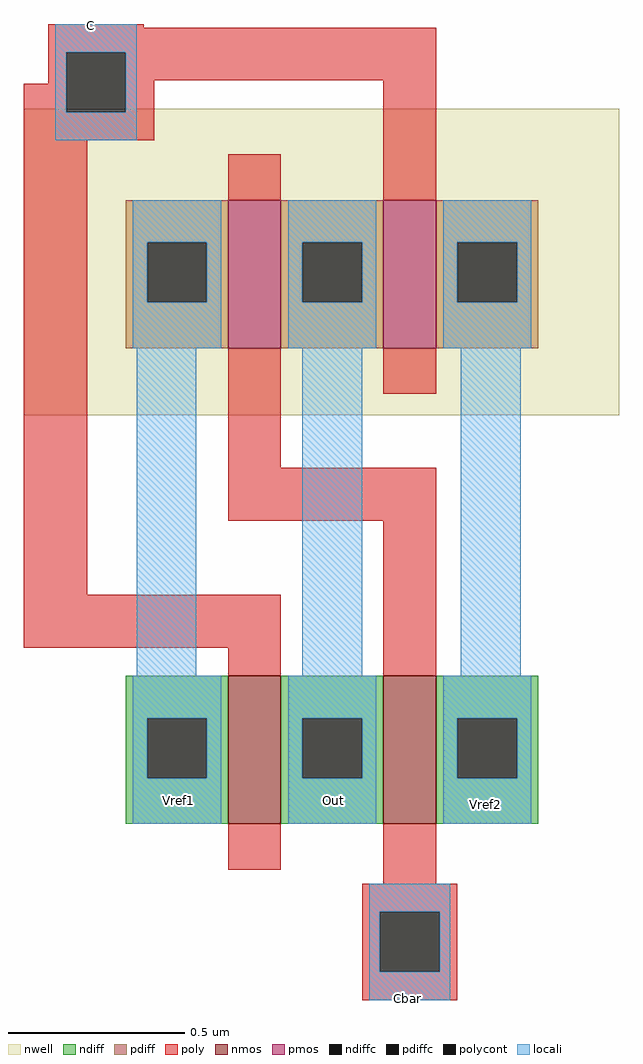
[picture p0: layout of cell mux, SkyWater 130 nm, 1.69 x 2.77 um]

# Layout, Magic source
magic
tech sky130A
<< nwell >>
rect -59 95 110 182
<< nmos >>
rect -1 -21 14 21
rect 43 -21 58 21
<< pmos >>
rect -1 114 14 156
rect 43 114 58 156
<< ndiff >>
rect -30 9 -1 21
rect -30 -8 -24 9
rect -7 -8 -1 9
rect -30 -21 -1 -8
rect 14 9 43 21
rect 14 -8 20 9
rect 37 -8 43 9
rect 14 -21 43 -8
rect 58 9 87 21
rect 58 -8 64 9
rect 81 -8 87 9
rect 58 -21 87 -8
<< pdiff >>
rect -30 144 -1 156
rect -30 127 -24 144
rect -7 127 -1 144
rect -30 114 -1 127
rect 14 144 43 156
rect 14 127 20 144
rect 37 127 43 144
rect 14 114 43 127
rect 58 144 87 156
rect 58 127 64 144
rect 81 127 87 144
rect 58 114 87 127
<< ndiffc >>
rect -24 -8 -7 9
rect 20 -8 37 9
rect 64 -8 81 9
<< pdiffc >>
rect -24 127 -7 144
rect 20 127 37 144
rect 64 127 81 144
<< poly >>
rect -52 205 -25 206
rect -52 198 58 205
rect -52 189 -47 198
rect -59 181 -47 189
rect -30 190 58 198
rect -30 181 -22 190
rect -59 173 -22 181
rect -59 44 -41 173
rect -1 156 14 169
rect 43 156 58 190
rect -1 80 14 114
rect 43 101 58 114
rect -1 65 58 80
rect -59 29 14 44
rect -1 21 14 29
rect 43 21 58 65
rect -1 -34 14 -21
rect 43 -38 58 -21
rect 37 -46 64 -38
rect 37 -63 42 -46
rect 59 -63 64 -46
rect 37 -71 64 -63
<< polycont >>
rect -47 181 -30 198
rect 42 -63 59 -46
<< locali >>
rect -50 198 -27 206
rect -50 181 -47 198
rect -30 181 -27 198
rect -50 173 -27 181
rect -28 144 -3 156
rect -28 127 -24 144
rect -7 127 -3 144
rect -28 114 -3 127
rect 16 144 41 156
rect 16 127 20 144
rect 37 127 41 144
rect 16 114 41 127
rect 60 144 85 156
rect 60 127 64 144
rect 81 127 85 144
rect 60 114 85 127
rect -27 21 -10 114
rect 20 21 37 114
rect 65 21 82 114
rect -28 9 -3 21
rect -28 -8 -24 9
rect -7 -8 -3 9
rect -28 -21 -3 -8
rect 16 9 41 21
rect 16 -8 20 9
rect 37 -8 41 9
rect 16 -21 41 -8
rect 60 9 85 21
rect 60 -8 64 9
rect 81 -8 85 9
rect 60 -21 85 -8
rect 39 -46 62 -38
rect 39 -63 42 -46
rect 59 -63 62 -46
rect 39 -71 62 -63
<< labels >>
flabel locali -26 -20 -4 -9 0 FreeSans 80 0 0 0 Vref1
flabel locali 61 -21 83 -10 0 FreeSans 80 0 0 0 Vref2
flabel locali 18 -20 40 -9 0 FreeSans 80 0 0 0 Out
flabel space -51 200 -29 211 0 FreeSans 80 0 0 0 C
flabel space 39 -76 61 -65 0 FreeSans 80 0 0 0 Cbar
<< end >>
